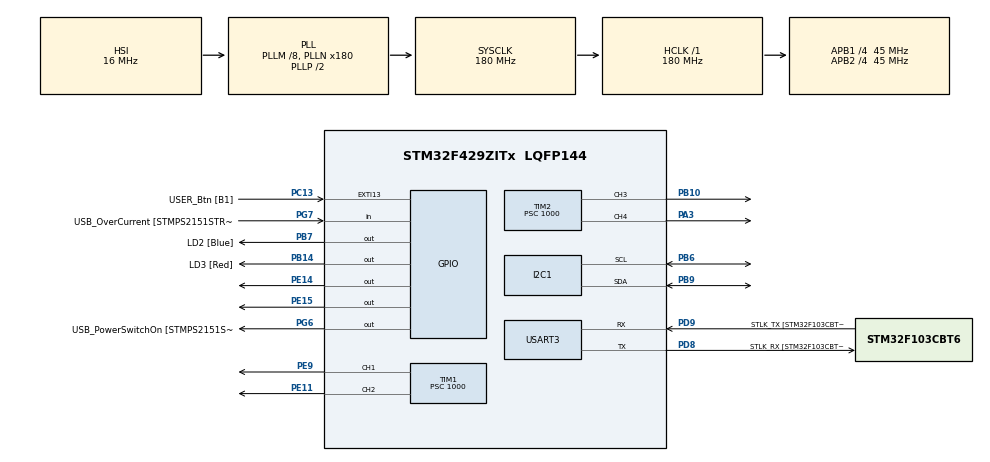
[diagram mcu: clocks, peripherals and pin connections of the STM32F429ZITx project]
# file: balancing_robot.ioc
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Mcu.Family=STM32F4
Mcu.Name=STM32F429ZITx
Mcu.Package=LQFP144
NVIC.PriorityGroup=NVIC_PRIORITYGROUP_4
NVIC.TIM3_IRQn=true\:0\:0\:false\:false\:true\:true
NVIC.USART3_IRQn=true\:0\:0\:false\:false\:true\:true
PA1.GPIO_Label=RMII_REF_CLK [LAN8742A-CZ-TR_REFCLK0]
PA1.Signal=ETH_REF_CLK
PA10.GPIO_Label=USB_ID
PA10.Signal=USB_OTG_FS_ID
PA11.GPIO_Label=USB_DM
PA11.Signal=USB_OTG_FS_DM
PA12.GPIO_Label=USB_DP
PA12.Signal=USB_OTG_FS_DP
PA13.GPIO_Label=TMS
PA13.Mode=Serial_Wire
PA13.Signal=SYS_JTMS-SWDIO
PA14.GPIO_Label=TCK
PA14.Mode=Serial_Wire
PA14.Signal=SYS_JTCK-SWCLK
PA2.GPIO_Label=RMII_MDIO [LAN8742A-CZ-TR_MDIO]
PA2.Signal=ETH_MDIO
PA3.GPIO_Speed=GPIO_SPEED_FREQ_HIGH
PA3.Signal=S_TIM2_CH4
PA7.GPIO_Label=RMII_CRS_DV [LAN8742A-CZ-TR_CRS_DV]
PA7.Signal=ETH_CRS_DV
PA8.GPIO_Label=USB_SOF [TP1]
PA8.Signal=USB_OTG_FS_SOF
PA9.GPIO_Label=USB_VBUS
PA9.Signal=USB_OTG_FS_VBUS
PB10.GPIO_Speed=GPIO_SPEED_FREQ_HIGH
PB10.Signal=S_TIM2_CH3
PB13.GPIO_Label=RMII_TXD1 [LAN8742A-CZ-TR_TXD1]
PB13.Signal=ETH_TXD1
PB14.GPIO_Label=LD3 [Red]
PB14.Signal=GPIO_Output
PB6.Mode=I2C
PB6.Signal=I2C1_SCL
PB7.GPIO_Label=LD2 [Blue]
PB7.Signal=GPIO_Output
PB9.Mode=I2C
PB9.Signal=I2C1_SDA
PC1.GPIO_Label=RMII_MDC [LAN8742A-CZ-TR_MDC]
PC1.Signal=ETH_MDC
PC13.GPIO_Label=USER_Btn [B1]
PC13.Signal=GPXTI13
PC14/OSC32_IN.Mode=LSE-External-Oscillator
PC14/OSC32_IN.Signal=RCC_OSC32_IN
PC15/OSC32_OUT.Mode=LSE-External-Oscillator
PC15/OSC32_OUT.Signal=RCC_OSC32_OUT
PC4.GPIO_Label=RMII_RXD0 [LAN8742A-CZ-TR_RXD0]
PC4.Signal=ETH_RXD0
PC5.GPIO_Label=RMII_RXD1 [LAN8742A-CZ-TR_RXD1]
PC5.Signal=ETH_RXD1
PD8.GPIO_Label=STLK_RX [STM32F103CBT6_PA3]
PD8.Mode=Asynchronous
PD8.Signal=USART3_TX
PD9.GPIO_Label=STLK_TX [STM32F103CBT6_PA2]
PD9.Mode=Asynchronous
PD9.Signal=USART3_RX
PE11.GPIO_Speed=GPIO_SPEED_FREQ_HIGH
PE11.Signal=S_TIM1_CH2
PE14.GPIO_Speed=GPIO_SPEED_FREQ_VERY_HIGH
PE14.Signal=GPIO_Output
PE15.GPIO_Speed=GPIO_SPEED_FREQ_VERY_HIGH
PE15.Signal=GPIO_Output
PE9.GPIO_Speed=GPIO_SPEED_FREQ_HIGH
PE9.Signal=S_TIM1_CH1
PG11.GPIO_Label=RMII_TX_EN [LAN8742A-CZ-TR_TXEN]
PG11.Signal=ETH_TX_EN
PG13.GPIO_Label=RMII_TXD0 [LAN8742A-CZ-TR_TXD0]
PG13.Signal=ETH_TXD0
PG6.GPIO_Label=USB_PowerSwitchOn [STMPS2151STR_EN]
PG6.Signal=GPIO_Output
PG7.GPIO_Label=USB_OverCurrent [STMPS2151STR_FAULT]
PG7.Signal=GPIO_Input
PH0/OSC_IN.GPIO_Label=MCO [STM32F103CBT6_PA8]
PH0/OSC_IN.Mode=HSE-External-Clock-Source
PH0/OSC_IN.Signal=RCC_OSC_IN
PH1/OSC_OUT.Mode=HSE-External-Clock-Source
PH1/OSC_OUT.Signal=RCC_OSC_OUT
ProjectManager.HeapSize=0x200
ProjectManager.StackSize=0x400
ProjectManager.TargetToolchain=SW4STM32
RCC.48MHZClocksFreq_Value=51428571.428571425
RCC.AHBFreq_Value=180000000
RCC.APB1CLKDivider=RCC_HCLK_DIV4
RCC.APB1Freq_Value=45000000
RCC.APB1TimFreq_Value=90000000
RCC.APB2CLKDivider=RCC_HCLK_DIV4
RCC.APB2Freq_Value=45000000
RCC.APB2TimFreq_Value=90000000
RCC.CortexFreq_Value=180000000
RCC.HCLKFreq_Value=180000000
RCC.HSE_VALUE=8000000
RCC.HSI_VALUE=16000000
RCC.PLLM=8
RCC.PLLMUL=RCC_PLL_MUL9
RCC.PLLN=180
RCC.PLLQ=7
RCC.PRESCALERUSB=RCC_USBCLKSOURCE_PLL_DIV1_5
RCC.RCC_RTC_Clock_Source=RCC_RTCCLKSOURCE_LSE
RCC.SYSCLKFreq_VALUE=180000000
RCC.SYSCLKSource=RCC_SYSCLKSOURCE_PLLCLK
RCC.SYSCLKSourceVirtual=RCC_SYSCLKSOURCE_PLLCLK
RCC.USBFreq_Value=48000000
RCC.VCOOutputFreq_Value=360000000
SH.S_TIM1_CH1.0=TIM1_CH1,PWM Generation1 CH1
SH.S_TIM1_CH2.0=TIM1_CH2,PWM Generation2 CH2
SH.S_TIM2_CH3.0=TIM2_CH3,PWM Generation3 CH3
SH.S_TIM2_CH4.0=TIM2_CH4,PWM Generation4 CH4
TIM1.Channel-PWM\ Generation1\ CH1=TIM_CHANNEL_1
TIM1.Channel-PWM\ Generation2\ CH2=TIM_CHANNEL_2
TIM1.OCIdleState_1=TIM_OCIDLESTATE_SET
TIM1.Period=90
TIM1.Prescaler=1000
TIM1.Pulse-PWM\ Generation1\ CH1=0
TIM1.Pulse-PWM\ Generation2\ CH2=0
TIM2.Channel-PWM\ Generation3\ CH3=TIM_CHANNEL_3
TIM2.Channel-PWM\ Generation4\ CH4=TIM_CHANNEL_4
TIM2.Period=90
TIM2.Prescaler=1000
TIM2.Pulse-PWM\ Generation3\ CH3=0
TIM2.Pulse-PWM\ Generation4\ CH4=0
TIM3.Period=9
TIM3.Prescaler=9
USART3.VirtualMode=VM_ASYNC
VP_RTC_VS_RTC_Activate.Mode=RTC_Enabled
VP_TIM3_VS_ClockSourceINT.Mode=Internal
board=NUCLEO-F429ZI

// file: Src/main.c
/**
  ******************************************************************************
  * @file           : main.c
  * @brief          : Main program body
  ******************************************************************************
  ** This notice applies to any and all portions of this file
  * that are not between comment pairs USER CODE BEGIN and
  * USER CODE END. Other portions of this file, whether
  * inserted by the user or by software development tools
  * are owned by their respective copyright owners.
  *
  * COPYRIGHT(c) 2018 STMicroelectronics
  *
  * Redistribution and use in source and binary forms, with or without modification,
  * are permitted provided that the following conditions are met:
  *   1. Redistributions of source code must retain the above copyright notice,
  *      this list of conditions and the following disclaimer.
  *   2. Redistributions in binary form must reproduce the above copyright notice,
  *      this list of conditions and the following disclaimer in the documentation
  *      and/or other materials provided with the distribution.
  *   3. Neither the name of STMicroelectronics nor the names of its contributors
  *      may be used to endorse or promote products derived from this software
  *      without specific prior written permission.
  *
  * THIS SOFTWARE IS PROVIDED BY THE COPYRIGHT HOLDERS AND CONTRIBUTORS "AS IS"
  * AND ANY EXPRESS OR IMPLIED WARRANTIES, INCLUDING, BUT NOT LIMITED TO, THE
  * IMPLIED WARRANTIES OF MERCHANTABILITY AND FITNESS FOR A PARTICULAR PURPOSE ARE
  * DISCLAIMED. IN NO EVENT SHALL THE COPYRIGHT HOLDER OR CONTRIBUTORS BE LIABLE
  * FOR ANY DIRECT, INDIRECT, INCIDENTAL, SPECIAL, EXEMPLARY, OR CONSEQUENTIAL
  * DAMAGES (INCLUDING, BUT NOT LIMITED TO, PROCUREMENT OF SUBSTITUTE GOODS OR
  * SERVICES; LOSS OF USE, DATA, OR PROFITS; OR BUSINESS INTERRUPTION) HOWEVER
  * CAUSED AND ON ANY THEORY OF LIABILITY, WHETHER IN CONTRACT, STRICT LIABILITY,
  * OR TORT (INCLUDING NEGLIGENCE OR OTHERWISE) ARISING IN ANY WAY OUT OF THE USE
  * OF THIS SOFTWARE, EVEN IF ADVISED OF THE POSSIBILITY OF SUCH DAMAGE.
  *
  ******************************************************************************
  */
#include "main.h"
#include "stm32f4xx_hal.h"

/* USER CODE BEGIN Includes */
#include "mpu6050.h"
#include "math.h"
#include <string.h>

/* USER CODE END Includes */

I2C_HandleTypeDef hi2c1;

RTC_HandleTypeDef hrtc;

TIM_HandleTypeDef htim1;
TIM_HandleTypeDef htim2;
TIM_HandleTypeDef htim3;

UART_HandleTypeDef huart3;

/* USER CODE BEGIN PV */
/* Private variables ---------------------------------------------------------*/
#define THROTTLE_MAX 30
#define THROTTLE_MIN 0
#define THROTTLE_INI 1

float throttle = THROTTLE_MIN;
float motorA_speed = THROTTLE_MIN;
float motorB_speed = THROTTLE_MIN;

SD_MPU6050 mpu1;

uint8_t data[100] = {0, };

int8_t count = 0;
uint16_t micros = 0;
uint32_t t_now;
uint32_t t_prev;

int16_t ax, ay, az;
int16_t gx, gy, gz;

int16_t AcX, AcY, AcZ, Tmp, GyX, GyY, GyZ;

float dt;
float accel_angle_x,    accel_angle_y,    accel_angle_z;
float gyro_angle_x = 0, gyro_angle_y = 0, gyro_angle_z = 0;
float filtered_angle_x, filtered_angle_y, filtered_angle_z;

float baseAcX, baseAcY, baseAcZ;
float baseGyX, baseGyY, baseGyZ;

/* PID값 세팅 */
#define pp 0.5
#define ii 0.9
#define dd 0.1

float roll_target_angle = 0.0;
float roll_prev_angle = 0.0;
float roll_kp = pp;
float roll_ki = ii;
float roll_kd = dd;
float roll_iterm;
float roll_output;
float motor_speed;

float pitch_target_angle = 0.0;
float pitch_prev_angle = 0.0;
float pitch_kp = pp;
float pitch_ki = ii;
float pitch_kd = dd;
float pitch_iterm;
float pitch_output;

float yaw_target_angle = 1.0;
float yaw_prev_angle = 0.0;
float yaw_kp = 1;
float yaw_ki = 0.0;
float yaw_kd = 0.0;
float yaw_iterm;
float yaw_output;

/* USER CODE END PV */

void SystemClock_Config(void);
static void MX_GPIO_Init(void);
static void MX_USART3_UART_Init(void);
static void MX_TIM1_Init(void);
static void MX_I2C1_Init(void);
static void MX_TIM2_Init(void);
static void MX_TIM3_Init(void);
static void MX_RTC_Init(void);

void HAL_TIM_MspPostInit(TIM_HandleTypeDef *htim);

/* USER CODE BEGIN PFP */
/* Private function prototypes -----------------------------------------------*/
HAL_TIM_PeriodElapsedCallback(TIM_HandleTypeDef *htim){
	if(htim->Instance == TIM3){
		micros++;
	}
}
//HAL_TIM_PeriodElapsedCallback(TIM_HandleTypeDef *htim){
//	if(htim->Instance == TIM3){
//		if(++count == 7){ //5
//			count = 0;
//			micros++;
//		}
//	}
//
//}
/* USER CODE END PFP */

/* USER CODE BEGIN 0 */
void readAccelGyro(void) { //가속도 자이로 센서의 값을 읽음
	SD_MPU6050_ReadAccelerometer(&hi2c1,&mpu1);
	AcX = mpu1.Accelerometer_X;
	AcY = mpu1.Accelerometer_Y;
	AcZ = mpu1.Accelerometer_Z;
	SD_MPU6050_ReadGyroscope(&hi2c1,&mpu1);
	GyX = mpu1.Gyroscope_X;
	GyY = mpu1.Gyroscope_Y;
	GyZ = mpu1.Gyroscope_Z;
}

void calibrate_sensors(void) {
	float sumAcX = 0, sumAcY = 0, sumAcZ = 0;
	float sumGyX = 0, sumGyY = 0, sumGyZ = 0;
	int num_readings = 10;

	// 가속도 자이로 센서에서 10번 읽어드린 값을 토대로 평균을 냄
	for (int i = 0; i < num_readings; i++) {
	  readAccelGyro();

	  sumAcX += AcX;
	  sumAcY += AcY;
	  sumAcZ += AcZ;
	  sumGyX += GyX;
	  sumGyY += GyY;
	  sumGyZ += GyZ;
	  HAL_Delay(100);
	}

	baseAcX = sumAcX / num_readings;
	baseAcY = sumAcY / num_readings;
	baseAcZ = sumAcZ / num_readings;
	baseGyX = sumGyX / num_readings;
	baseGyY = sumGyY / num_readings;
	baseGyZ = sumGyZ / num_readings;
}

void init_DT(void){
	t_prev = micros;
}

void calc_DT(void){
	t_now = micros;
	dt = ((float)t_now - (float)t_prev) / 1000000.0;
	t_prev = t_now;
}

void calcAccelYPR(void) { //가속도 센서값 처리
	float accel_x, accel_y, accel_z;
	float accel_xz, accel_yz;
	const float RADIANS_TO_DEGREES = 180 / 3.14159;

	accel_x = AcX - baseAcX;
	accel_y = AcY - baseAcY;
	accel_z = AcZ + (16384 - baseAcZ);

	accel_yz = sqrt(pow(accel_y, 2) + pow(accel_z, 2));
	accel_angle_y = atan(-accel_x / accel_yz) * RADIANS_TO_DEGREES;

	accel_xz = sqrt(pow(accel_x, 2) + pow(accel_z, 2));
	accel_angle_x = atan( accel_y / accel_xz) * RADIANS_TO_DEGREES;

	accel_angle_z = 0;
}

float gyro_x, gyro_y, gyro_z;

void calcGyroYPR(void) { //자이로 센서값 처리
	const float GYROXYZ_TO_DEGREES_PER_SEC = 131;

	gyro_x = (GyX - baseGyX) / GYROXYZ_TO_DEGREES_PER_SEC;
	gyro_y = (GyY - baseGyY) / GYROXYZ_TO_DEGREES_PER_SEC;
	gyro_z = (GyZ - baseGyZ) / GYROXYZ_TO_DEGREES_PER_SEC;

//	gyro_angle_x += gyro_x * dt;
//	gyro_angle_y += gyro_y * dt;
//	gyro_angle_z += gyro_z * dt;
}

void calcFilteredYPR(void) { //상보필터
	const float ALPHA = 0.96;
	float tmp_angle_x, tmp_angle_y, tmp_angle_z;

	tmp_angle_x = filtered_angle_x + gyro_x * dt;
	tmp_angle_y = filtered_angle_y + gyro_y * dt;
	tmp_angle_z = filtered_angle_z + gyro_z * dt;

	filtered_angle_x = ALPHA * tmp_angle_x + (1.0 - ALPHA) * accel_angle_x;
	filtered_angle_y = ALPHA * tmp_angle_y + (1.0 - ALPHA) * accel_angle_y;

	filtered_angle_z = tmp_angle_z; // Accel 값으로는 Yaw 변화 감지가 불가능합니다. 지자기계 등 추가필요.
}

//표준 PID 제어기
void stdPID(float setpoint, float input, float *prev_input, float kp, float ki, float kd, float *iterm, float *output){
	float error;
	float dInput;
	float pterm, dterm;

	error = setpoint - input; // 오차 = 설정값 - 현재입력값
	dInput = input - (*prev_input);
	(*prev_input) = input; //다음 주기에 사용하기 위해서 현재 입력값을 저장

	//pid제어//
	pterm = kp * error; //비례항
	(*iterm) += ki * error * dt; //적분항(현재 오차에서 센서입력주기(dt)값을 곱한다.
	dterm = -kd * (dInput / dt); //미분항(미분항은 외력에 의한 변경이므로 setpoint에 의한 내부적인 요소를 제외해야한다. (-)추가

	(*output) = pterm + (*iterm) + dterm; //output값으로 pid요소를 합한다.

}

void calcYPRtoStdPID(){
  stdPID(roll_target_angle, filtered_angle_y, &roll_prev_angle, roll_kp, roll_ki, roll_kd, &roll_iterm, &roll_output);
  stdPID(pitch_target_angle, filtered_angle_x, &pitch_prev_angle, pitch_kp, pitch_ki, pitch_kd, &pitch_iterm, &pitch_output);
  stdPID(yaw_target_angle, filtered_angle_z, &yaw_prev_angle, yaw_kp, yaw_ki, yaw_kd, &yaw_iterm, &yaw_output);
}

void calcMotorSpeed(void){
	motor_speed = pitch_target_angle - pitch_output; //조종시 pitch_target_angle -> throttle

	if(motor_speed < 0){
		if(motor_speed <= -20)	motor_speed = -20;
		 HAL_GPIO_WritePin(GPIOE, GPIO_PIN_14, 0); //방향설정 둘중하나는 1
		 HAL_GPIO_WritePin(GPIOE, GPIO_PIN_15, 0); //방향설정 둘중하나는 1
		 __HAL_TIM_SET_COMPARE(&htim1, TIM_CHANNEL_1, abs((uint8_t)motor_speed));
		 __HAL_TIM_SET_COMPARE(&htim1, TIM_CHANNEL_2, abs((uint8_t)motor_speed));
	}
	else{
		if(motor_speed >= 20)	motor_speed = 20;
		HAL_GPIO_WritePin(GPIOE, GPIO_PIN_14, 1); //방향설정 둘중하나는 0
		HAL_GPIO_WritePin(GPIOE, GPIO_PIN_15, 1); //방향설정 둘중하나는 0
		__HAL_TIM_SET_COMPARE(&htim1, TIM_CHANNEL_1, (uint8_t)motor_speed);
		__HAL_TIM_SET_COMPARE(&htim1, TIM_CHANNEL_2, (uint8_t)motor_speed);
	}
}

void SendDataToProcessing(void){

	sprintf((uint8_t*)data, "filtered_angle_x : %f, motor_speed : %f\n",filtered_angle_x,motor_speed);
	HAL_UART_Transmit_IT(&huart3,data,(uint16_t)strlen(data));
}

/* USER CODE END 0 */

int main(void)
{
  /* USER CODE BEGIN 1 */
	SD_MPU6050_Result result;
	uint8_t mpu_ok[15] = {"MPU WORK FINE\n"};
	uint8_t mpu_not[17] = {"MPU NOT WORKING\n"};

  /* USER CODE END 1 */

  /* MCU Configuration----------------------------------------------------------*/

  /* Reset of all peripherals, Initializes the Flash interface and the Systick. */
  HAL_Init();

  /* Configure the system clock */
  SystemClock_Config();

  /* Initialize all configured peripherals */
  MX_GPIO_Init();
  MX_USART3_UART_Init();
  MX_TIM1_Init();
  MX_I2C1_Init();
  MX_TIM2_Init();
  MX_TIM3_Init();
  MX_RTC_Init();
  /* USER CODE BEGIN 2 */
  //LEFT WHEEL
  //TIM_CHANNEL_1:SPEED
  //TIM_CHANNEL_3:BREAK
  //RIGHT WHEEL
  //TIM_CHANNEL_2:SPEED
  //TIM_CHANNEL_4:BREAK
  HAL_TIM_PWM_Start(&htim1, TIM_CHANNEL_1);
  HAL_TIM_PWM_Start(&htim1, TIM_CHANNEL_2);
  HAL_TIM_PWM_Start(&htim2, TIM_CHANNEL_3);
  HAL_TIM_PWM_Start(&htim2, TIM_CHANNEL_4);

  HAL_TIM_Base_Start_IT(&htim3);

  //LEFT WHEEL
  //GPIO_PIN_14:DIRECTION
  //RIGHT WHEEL
  //GPIO_PIN_15:DIRECTION
//  HAL_GPIO_WritePin(GPIOE, GPIO_PIN_14, 0);
//  HAL_GPIO_WritePin(GPIOE, GPIO_PIN_15, 0);

  /* USER CODE END 2 */

  /* Infinite loop */
  /* USER CODE BEGIN WHILE */
  result = SD_MPU6050_Init(&hi2c1,&mpu1,SD_MPU6050_Device_0,SD_MPU6050_Accelerometer_2G,SD_MPU6050_Gyroscope_250s );
  HAL_Delay(1000);
  if(result == SD_MPU6050_Result_Ok){
	HAL_UART_Transmit_IT(&huart3,mpu_ok,(uint16_t)15);
  }
  else{
	HAL_UART_Transmit_IT(&huart3,mpu_not,(uint16_t)17);
	while(1){
	  result = SD_MPU6050_Init(&hi2c1,&mpu1,SD_MPU6050_Device_0,SD_MPU6050_Accelerometer_2G,SD_MPU6050_Gyroscope_250s );
	  HAL_UART_Transmit_IT(&huart3,mpu_not,(uint16_t)17);
	  HAL_Delay(500);
	  if(result == SD_MPU6050_Result_Ok){
		break;
	  }
	}
  }
  HAL_Delay(500);

  init_DT();
  calibrate_sensors();
//  initYPR();

  while (1)
  {

  /* USER CODE END WHILE */

  /* USER CODE BEGIN 3 */

	calc_DT();
	readAccelGyro();
	calcAccelYPR();
	calcGyroYPR();
	calcFilteredYPR();
	calcYPRtoStdPID();
	calcMotorSpeed();

	static int cnt;
	cnt++;
	if(cnt%2==0){
		SendDataToProcessing(); //ypr에 대한 각도 정보를 보냄
	}

  }
  /* USER CODE END 3 */

}

void SystemClock_Config(void)
{

  RCC_OscInitTypeDef RCC_OscInitStruct;
  RCC_ClkInitTypeDef RCC_ClkInitStruct;
  RCC_PeriphCLKInitTypeDef PeriphClkInitStruct;

    /**Configure the main internal regulator output voltage
    */
  __HAL_RCC_PWR_CLK_ENABLE();

  __HAL_PWR_VOLTAGESCALING_CONFIG(PWR_REGULATOR_VOLTAGE_SCALE1);

    /**Initializes the CPU, AHB and APB busses clocks
    */
  RCC_OscInitStruct.OscillatorType = RCC_OSCILLATORTYPE_HSI|RCC_OSCILLATORTYPE_LSE;
  RCC_OscInitStruct.LSEState = RCC_LSE_ON;
  RCC_OscInitStruct.HSIState = RCC_HSI_ON;
  RCC_OscInitStruct.HSICalibrationValue = 16;
  RCC_OscInitStruct.PLL.PLLState = RCC_PLL_ON;
  RCC_OscInitStruct.PLL.PLLSource = RCC_PLLSOURCE_HSI;
  RCC_OscInitStruct.PLL.PLLM = 8;
  RCC_OscInitStruct.PLL.PLLN = 180;
  RCC_OscInitStruct.PLL.PLLP = RCC_PLLP_DIV2;
  RCC_OscInitStruct.PLL.PLLQ = 7;
  if (HAL_RCC_OscConfig(&RCC_OscInitStruct) != HAL_OK)
  {
    _Error_Handler(__FILE__, __LINE__);
  }

    /**Activate the Over-Drive mode
    */
  if (HAL_PWREx_EnableOverDrive() != HAL_OK)
  {
    _Error_Handler(__FILE__, __LINE__);
  }

    /**Initializes the CPU, AHB and APB busses clocks
    */
  RCC_ClkInitStruct.ClockType = RCC_CLOCKTYPE_HCLK|RCC_CLOCKTYPE_SYSCLK
                              |RCC_CLOCKTYPE_PCLK1|RCC_CLOCKTYPE_PCLK2;
  RCC_ClkInitStruct.SYSCLKSource = RCC_SYSCLKSOURCE_PLLCLK;
  RCC_ClkInitStruct.AHBCLKDivider = RCC_SYSCLK_DIV1;
  RCC_ClkInitStruct.APB1CLKDivider = RCC_HCLK_DIV4;
  RCC_ClkInitStruct.APB2CLKDivider = RCC_HCLK_DIV4;

  if (HAL_RCC_ClockConfig(&RCC_ClkInitStruct, FLASH_LATENCY_5) != HAL_OK)
  {
    _Error_Handler(__FILE__, __LINE__);
  }

  PeriphClkInitStruct.PeriphClockSelection = RCC_PERIPHCLK_RTC;
  PeriphClkInitStruct.RTCClockSelection = RCC_RTCCLKSOURCE_LSE;
  if (HAL_RCCEx_PeriphCLKConfig(&PeriphClkInitStruct) != HAL_OK)
  {
    _Error_Handler(__FILE__, __LINE__);
  }

    /**Configure the Systick interrupt time
    */
  HAL_SYSTICK_Config(HAL_RCC_GetHCLKFreq()/1000);

    /**Configure the Systick
    */
  HAL_SYSTICK_CLKSourceConfig(SYSTICK_CLKSOURCE_HCLK);

  /* SysTick_IRQn interrupt configuration */
  HAL_NVIC_SetPriority(SysTick_IRQn, 0, 0);
}

/* I2C1 init function */
static void MX_I2C1_Init(void)
{

  hi2c1.Instance = I2C1;
  hi2c1.Init.ClockSpeed = 100000;
  hi2c1.Init.DutyCycle = I2C_DUTYCYCLE_2;
  hi2c1.Init.OwnAddress1 = 0;
  hi2c1.Init.AddressingMode = I2C_ADDRESSINGMODE_7BIT;
  hi2c1.Init.DualAddressMode = I2C_DUALADDRESS_DISABLE;
  hi2c1.Init.OwnAddress2 = 0;
  hi2c1.Init.GeneralCallMode = I2C_GENERALCALL_DISABLE;
  hi2c1.Init.NoStretchMode = I2C_NOSTRETCH_DISABLE;
  if (HAL_I2C_Init(&hi2c1) != HAL_OK)
  {
    _Error_Handler(__FILE__, __LINE__);
  }

}

/* RTC init function */
static void MX_RTC_Init(void)
{

    /**Initialize RTC Only
    */
  hrtc.Instance = RTC;
  hrtc.Init.HourFormat = RTC_HOURFORMAT_24;
  hrtc.Init.AsynchPrediv = 127;
  hrtc.Init.SynchPrediv = 255;
  hrtc.Init.OutPut = RTC_OUTPUT_DISABLE;
  hrtc.Init.OutPutPolarity = RTC_OUTPUT_POLARITY_HIGH;
  hrtc.Init.OutPutType = RTC_OUTPUT_TYPE_OPENDRAIN;
  if (HAL_RTC_Init(&hrtc) != HAL_OK)
  {
    _Error_Handler(__FILE__, __LINE__);
  }

}

/* TIM1 init function */
static void MX_TIM1_Init(void)
{

  TIM_MasterConfigTypeDef sMasterConfig;
  TIM_OC_InitTypeDef sConfigOC;
  TIM_BreakDeadTimeConfigTypeDef sBreakDeadTimeConfig;

  htim1.Instance = TIM1;
  htim1.Init.Prescaler = 1000;
  htim1.Init.CounterMode = TIM_COUNTERMODE_UP;
  htim1.Init.Period = 90;
  htim1.Init.ClockDivision = TIM_CLOCKDIVISION_DIV1;
  htim1.Init.RepetitionCounter = 0;
  if (HAL_TIM_PWM_Init(&htim1) != HAL_OK)
  {
    _Error_Handler(__FILE__, __LINE__);
  }

  sMasterConfig.MasterOutputTrigger = TIM_TRGO_RESET;
  sMasterConfig.MasterSlaveMode = TIM_MASTERSLAVEMODE_DISABLE;
  if (HAL_TIMEx_MasterConfigSynchronization(&htim1, &sMasterConfig) != HAL_OK)
  {
    _Error_Handler(__FILE__, __LINE__);
  }

  sConfigOC.OCMode = TIM_OCMODE_PWM1;
  sConfigOC.Pulse = 0;
  sConfigOC.OCPolarity = TIM_OCPOLARITY_HIGH;
  sConfigOC.OCNPolarity = TIM_OCNPOLARITY_HIGH;
  sConfigOC.OCFastMode = TIM_OCFAST_DISABLE;
  sConfigOC.OCIdleState = TIM_OCIDLESTATE_SET;
  sConfigOC.OCNIdleState = TIM_OCNIDLESTATE_RESET;
  if (HAL_TIM_PWM_ConfigChannel(&htim1, &sConfigOC, TIM_CHANNEL_1) != HAL_OK)
  {
    _Error_Handler(__FILE__, __LINE__);
  }

  sConfigOC.OCIdleState = TIM_OCIDLESTATE_RESET;
  if (HAL_TIM_PWM_ConfigChannel(&htim1, &sConfigOC, TIM_CHANNEL_2) != HAL_OK)
  {
    _Error_Handler(__FILE__, __LINE__);
  }

  sBreakDeadTimeConfig.OffStateRunMode = TIM_OSSR_DISABLE;
  sBreakDeadTimeConfig.OffStateIDLEMode = TIM_OSSI_DISABLE;
  sBreakDeadTimeConfig.LockLevel = TIM_LOCKLEVEL_OFF;
  sBreakDeadTimeConfig.DeadTime = 0;
  sBreakDeadTimeConfig.BreakState = TIM_BREAK_DISABLE;
  sBreakDeadTimeConfig.BreakPolarity = TIM_BREAKPOLARITY_HIGH;
  sBreakDeadTimeConfig.AutomaticOutput = TIM_AUTOMATICOUTPUT_DISABLE;
  if (HAL_TIMEx_ConfigBreakDeadTime(&htim1, &sBreakDeadTimeConfig) != HAL_OK)
  {
    _Error_Handler(__FILE__, __LINE__);
  }

  HAL_TIM_MspPostInit(&htim1);

}

/* TIM2 init function */
static void MX_TIM2_Init(void)
{

  TIM_MasterConfigTypeDef sMasterConfig;
  TIM_OC_InitTypeDef sConfigOC;

  htim2.Instance = TIM2;
  htim2.Init.Prescaler = 1000;
  htim2.Init.CounterMode = TIM_COUNTERMODE_UP;
  htim2.Init.Period = 90;
  htim2.Init.ClockDivision = TIM_CLOCKDIVISION_DIV1;
  if (HAL_TIM_PWM_Init(&htim2) != HAL_OK)
  {
    _Error_Handler(__FILE__, __LINE__);
  }

  sMasterConfig.MasterOutputTrigger = TIM_TRGO_RESET;
  sMasterConfig.MasterSlaveMode = TIM_MASTERSLAVEMODE_DISABLE;
  if (HAL_TIMEx_MasterConfigSynchronization(&htim2, &sMasterConfig) != HAL_OK)
  {
    _Error_Handler(__FILE__, __LINE__);
  }

  sConfigOC.OCMode = TIM_OCMODE_PWM1;
  sConfigOC.Pulse = 0;
  sConfigOC.OCPolarity = TIM_OCPOLARITY_HIGH;
  sConfigOC.OCFastMode = TIM_OCFAST_DISABLE;
  if (HAL_TIM_PWM_ConfigChannel(&htim2, &sConfigOC, TIM_CHANNEL_3) != HAL_OK)
  {
    _Error_Handler(__FILE__, __LINE__);
  }

  if (HAL_TIM_PWM_ConfigChannel(&htim2, &sConfigOC, TIM_CHANNEL_4) != HAL_OK)
  {
    _Error_Handler(__FILE__, __LINE__);
  }

  HAL_TIM_MspPostInit(&htim2);

}

/* TIM3 init function */
static void MX_TIM3_Init(void)
{

  TIM_ClockConfigTypeDef sClockSourceConfig;
  TIM_MasterConfigTypeDef sMasterConfig;

  htim3.Instance = TIM3;
  htim3.Init.Prescaler = 9;
  htim3.Init.CounterMode = TIM_COUNTERMODE_UP;
  htim3.Init.Period = 9;
  htim3.Init.ClockDivision = TIM_CLOCKDIVISION_DIV1;
  if (HAL_TIM_Base_Init(&htim3) != HAL_OK)
  {
    _Error_Handler(__FILE__, __LINE__);
  }

  sClockSourceConfig.ClockSource = TIM_CLOCKSOURCE_INTERNAL;
  if (HAL_TIM_ConfigClockSource(&htim3, &sClockSourceConfig) != HAL_OK)
  {
    _Error_Handler(__FILE__, __LINE__);
  }

  sMasterConfig.MasterOutputTrigger = TIM_TRGO_RESET;
  sMasterConfig.MasterSlaveMode = TIM_MASTERSLAVEMODE_DISABLE;
  if (HAL_TIMEx_MasterConfigSynchronization(&htim3, &sMasterConfig) != HAL_OK)
  {
    _Error_Handler(__FILE__, __LINE__);
  }

}

/* USART3 init function */
static void MX_USART3_UART_Init(void)
{

  huart3.Instance = USART3;
  huart3.Init.BaudRate = 115200;
  huart3.Init.WordLength = UART_WORDLENGTH_8B;
  huart3.Init.StopBits = UART_STOPBITS_1;
  huart3.Init.Parity = UART_PARITY_NONE;
  huart3.Init.Mode = UART_MODE_TX_RX;
  huart3.Init.HwFlowCtl = UART_HWCONTROL_NONE;
  huart3.Init.OverSampling = UART_OVERSAMPLING_16;
  if (HAL_UART_Init(&huart3) != HAL_OK)
  {
    _Error_Handler(__FILE__, __LINE__);
  }

}

/** Configure pins as
        * Analog
        * Input
        * Output
        * EVENT_OUT
        * EXTI
     PC1   ------> ETH_MDC
     PA1   ------> ETH_REF_CLK
     PA2   ------> ETH_MDIO
     PA7   ------> ETH_CRS_DV
     PC4   ------> ETH_RXD0
     PC5   ------> ETH_RXD1
     PB13   ------> ETH_TXD1
     PA8   ------> USB_OTG_FS_SOF
     PA9   ------> USB_OTG_FS_VBUS
     PA10   ------> USB_OTG_FS_ID
     PA11   ------> USB_OTG_FS_DM
     PA12   ------> USB_OTG_FS_DP
     PG11   ------> ETH_TX_EN
     PG13   ------> ETH_TXD0
*/
static void MX_GPIO_Init(void)
{

  GPIO_InitTypeDef GPIO_InitStruct;

  /* GPIO Ports Clock Enable */
  __HAL_RCC_GPIOC_CLK_ENABLE();
  __HAL_RCC_GPIOH_CLK_ENABLE();
  __HAL_RCC_GPIOA_CLK_ENABLE();
  __HAL_RCC_GPIOE_CLK_ENABLE();
  __HAL_RCC_GPIOB_CLK_ENABLE();
  __HAL_RCC_GPIOD_CLK_ENABLE();
  __HAL_RCC_GPIOG_CLK_ENABLE();

  /*Configure GPIO pin Output Level */
  HAL_GPIO_WritePin(GPIOE, GPIO_PIN_14|GPIO_PIN_15, GPIO_PIN_RESET);

  /*Configure GPIO pin Output Level */
  HAL_GPIO_WritePin(GPIOB, LD3_Pin|LD2_Pin, GPIO_PIN_RESET);

  /*Configure GPIO pin Output Level */
  HAL_GPIO_WritePin(USB_PowerSwitchOn_GPIO_Port, USB_PowerSwitchOn_Pin, GPIO_PIN_RESET);

  /*Configure GPIO pin : USER_Btn_Pin */
  GPIO_InitStruct.Pin = USER_Btn_Pin;
  GPIO_InitStruct.Mode = GPIO_MODE_IT_RISING;
  GPIO_InitStruct.Pull = GPIO_NOPULL;
  HAL_GPIO_Init(USER_Btn_GPIO_Port, &GPIO_InitStruct);

  /*Configure GPIO pins : RMII_MDC_Pin RMII_RXD0_Pin RMII_RXD1_Pin */
  GPIO_InitStruct.Pin = RMII_MDC_Pin|RMII_RXD0_Pin|RMII_RXD1_Pin;
  GPIO_InitStruct.Mode = GPIO_MODE_AF_PP;
  GPIO_InitStruct.Pull = GPIO_NOPULL;
  GPIO_InitStruct.Speed = GPIO_SPEED_FREQ_VERY_HIGH;
  GPIO_InitStruct.Alternate = GPIO_AF11_ETH;
  HAL_GPIO_Init(GPIOC, &GPIO_InitStruct);

  /*Configure GPIO pins : RMII_REF_CLK_Pin RMII_MDIO_Pin RMII_CRS_DV_Pin */
  GPIO_InitStruct.Pin = RMII_REF_CLK_Pin|RMII_MDIO_Pin|RMII_CRS_DV_Pin;
  GPIO_InitStruct.Mode = GPIO_MODE_AF_PP;
  GPIO_InitStruct.Pull = GPIO_NOPULL;
  GPIO_InitStruct.Speed = GPIO_SPEED_FREQ_VERY_HIGH;
  GPIO_InitStruct.Alternate = GPIO_AF11_ETH;
  HAL_GPIO_Init(GPIOA, &GPIO_InitStruct);

  /*Configure GPIO pins : PE14 PE15 */
  GPIO_InitStruct.Pin = GPIO_PIN_14|GPIO_PIN_15;
  GPIO_InitStruct.Mode = GPIO_MODE_OUTPUT_PP;
  GPIO_InitStruct.Pull = GPIO_NOPULL;
  GPIO_InitStruct.Speed = GPIO_SPEED_FREQ_VERY_HIGH;
  HAL_GPIO_Init(GPIOE, &GPIO_InitStruct);

  /*Configure GPIO pin : RMII_TXD1_Pin */
  GPIO_InitStruct.Pin = RMII_TXD1_Pin;
  GPIO_InitStruct.Mode = GPIO_MODE_AF_PP;
  GPIO_InitStruct.Pull = GPIO_NOPULL;
  GPIO_InitStruct.Speed = GPIO_SPEED_FREQ_VERY_HIGH;
  GPIO_InitStruct.Alternate = GPIO_AF11_ETH;
  HAL_GPIO_Init(RMII_TXD1_GPIO_Port, &GPIO_InitStruct);

  /*Configure GPIO pins : LD3_Pin LD2_Pin */
  GPIO_InitStruct.Pin = LD3_Pin|LD2_Pin;
  GPIO_InitStruct.Mode = GPIO_MODE_OUTPUT_PP;
  GPIO_InitStruct.Pull = GPIO_NOPULL;
  GPIO_InitStruct.Speed = GPIO_SPEED_FREQ_LOW;
  HAL_GPIO_Init(GPIOB, &GPIO_InitStruct);

  /*Configure GPIO pin : USB_PowerSwitchOn_Pin */
  GPIO_InitStruct.Pin = USB_PowerSwitchOn_Pin;
  GPIO_InitStruct.Mode = GPIO_MODE_OUTPUT_PP;
  GPIO_InitStruct.Pull = GPIO_NOPULL;
  GPIO_InitStruct.Speed = GPIO_SPEED_FREQ_LOW;
  HAL_GPIO_Init(USB_PowerSwitchOn_GPIO_Port, &GPIO_InitStruct);

  /*Configure GPIO pin : USB_OverCurrent_Pin */
  GPIO_InitStruct.Pin = USB_OverCurrent_Pin;
  GPIO_InitStruct.Mode = GPIO_MODE_INPUT;
  GPIO_InitStruct.Pull = GPIO_NOPULL;
  HAL_GPIO_Init(USB_OverCurrent_GPIO_Port, &GPIO_InitStruct);

  /*Configure GPIO pins : USB_SOF_Pin USB_ID_Pin USB_DM_Pin USB_DP_Pin */
  GPIO_InitStruct.Pin = USB_SOF_Pin|USB_ID_Pin|USB_DM_Pin|USB_DP_Pin;
  GPIO_InitStruct.Mode = GPIO_MODE_AF_PP;
  GPIO_InitStruct.Pull = GPIO_NOPULL;
  GPIO_InitStruct.Speed = GPIO_SPEED_FREQ_VERY_HIGH;
  GPIO_InitStruct.Alternate = GPIO_AF10_OTG_FS;
  HAL_GPIO_Init(GPIOA, &GPIO_InitStruct);

  /*Configure GPIO pin : USB_VBUS_Pin */
  GPIO_InitStruct.Pin = USB_VBUS_Pin;
  GPIO_InitStruct.Mode = GPIO_MODE_INPUT;
  GPIO_InitStruct.Pull = GPIO_NOPULL;
  HAL_GPIO_Init(USB_VBUS_GPIO_Port, &GPIO_InitStruct);

  /*Configure GPIO pins : RMII_TX_EN_Pin RMII_TXD0_Pin */
  GPIO_InitStruct.Pin = RMII_TX_EN_Pin|RMII_TXD0_Pin;
  GPIO_InitStruct.Mode = GPIO_MODE_AF_PP;
  GPIO_InitStruct.Pull = GPIO_NOPULL;
  GPIO_InitStruct.Speed = GPIO_SPEED_FREQ_VERY_HIGH;
  GPIO_InitStruct.Alternate = GPIO_AF11_ETH;
  HAL_GPIO_Init(GPIOG, &GPIO_InitStruct);

}

void _Error_Handler(char *file, int line)
{
  while(1)
  {
  }
}

/************************ (C) COPYRIGHT STMicroelectronics *****END OF FILE****/
